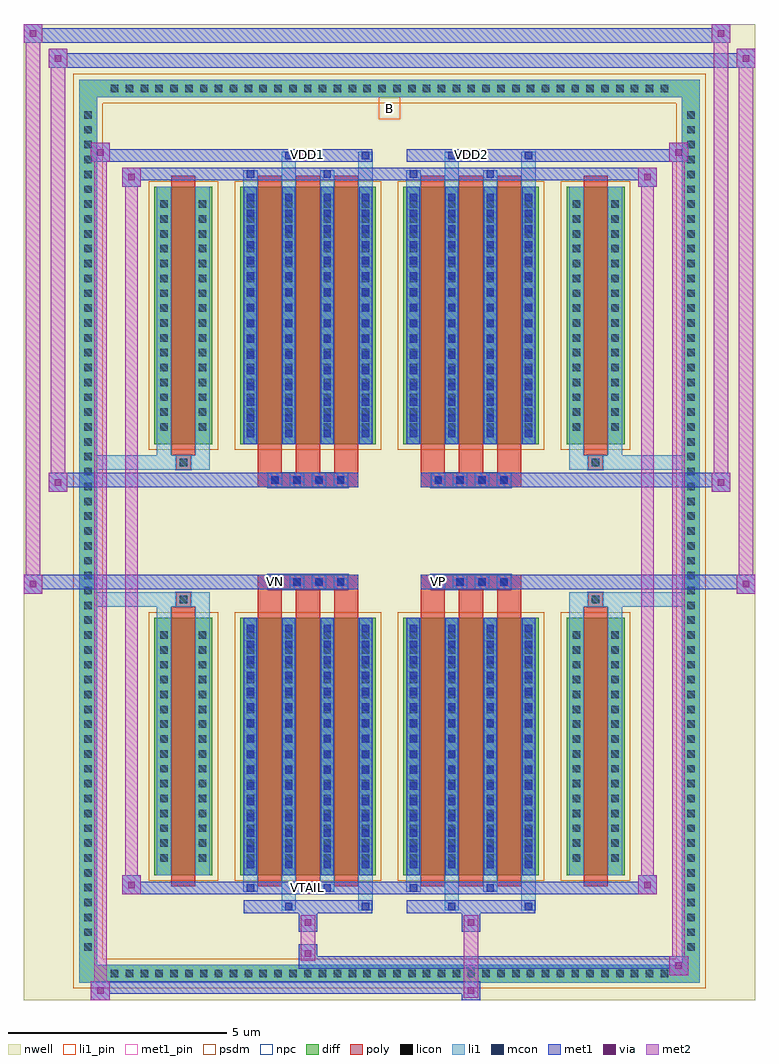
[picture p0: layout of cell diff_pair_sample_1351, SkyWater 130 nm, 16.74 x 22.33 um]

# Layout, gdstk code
import gdstk
lib = gdstk.Library(unit=1e-6, precision=5e-09)
def R(c, l, rs):  # rectangles x0, y0, x1, y1
    for r in rs: c.add(gdstk.rectangle(r[:2], r[2:], *l))
def A(c, l, x, y, w, h, nx, ny, dx, dy):  # array of equal rectangles
    R(c, l, [(x+i*dx, y+j*dy, x+i*dx+w, y+j*dy+h) for i in range(nx) for j in range(ny)])
def P(c, l, *ps):  # polygons
    for p in ps: c.add(gdstk.Polygon(p, *l))
nwell = (64, 20)
diff = (65, 20)
poly = (66, 20)
licon = (66, 44)
li1_pin = (67, 16)
li1 = (67, 20)
mcon = (67, 44)
met1_pin = (68, 16)
met1 = (68, 20)
via = (68, 44)
met2 = (69, 20)
psdm = (94, 20)
npc = (95, 20)

diff_pair_sample_1351 = lib.new_cell('diff_pair_sample_1351')
R(diff_pair_sample_1351, nwell, [(-8.37,-10.73,8.37,11.6), (-5.69,-8.92,-0.01,-0.8), (0.01,-8.92,5.69,-0.8), (-5.69,0.8,-0.01,8.92), (0.01,0.8,5.69,8.92)])
A(diff_pair_sample_1351, diff, -6.495, -10.33, 0.41, 0.41, 38, 2, 0.34, 20.25)
A(diff_pair_sample_1351, diff, -7.1, -9.725, 0.41, 0.41, 1, 57, 0, 0.34)
A(diff_pair_sample_1351, diff, 6.69, -9.725, 0.41, 0.41, 1, 57, 0, 0.34)
R(diff_pair_sample_1351, diff, [(-6.495,-10.33,6.495,-9.92), (-7.1,-9.725,-6.69,9.725), (6.69,-9.725,7.1,9.725), (-5.38,-7.875,-4.05,-1.985), (-3.41,-7.875,-0.32,-1.985), (0.32,-7.875,3.41,-1.985), (4.05,-7.875,5.38,-1.985), (-5.38,1.985,-4.05,7.875), (-3.41,1.985,-0.32,7.875), (0.32,1.985,3.41,7.875), (4.05,1.985,5.38,7.875), (-6.495,9.92,6.495,10.33)])
P(diff_pair_sample_1351, diff, [(7.1,10.33),(-7.1,10.33),(-7.1,-9.92),(-6.69,-9.92),(-6.69,9.92),(6.69,9.92),(6.69,-9.92),(-6.69,-9.92),(-7.1,-9.92),(-7.1,-10.33),(7.1,-10.33)])
A(diff_pair_sample_1351, poly, -3.02, -8.125, 0.55, 6.39, 3, 2, 0.88, 9.86)
A(diff_pair_sample_1351, poly, 0.71, -8.125, 0.55, 6.39, 3, 2, 0.88, 9.86)
A(diff_pair_sample_1351, poly, -3.02, -1.735, 0.55, 0.405, 3, 2, 0.88, 3.065)
A(diff_pair_sample_1351, poly, 0.71, -1.735, 0.55, 0.405, 3, 2, 0.88, 3.065)
A(diff_pair_sample_1351, poly, -2.78, -1.33, 0.33, 0.33, 4, 2, 0.5, 2.33)
A(diff_pair_sample_1351, poly, 0.95, -1.33, 0.33, 0.33, 4, 2, 0.5, 2.33)
R(diff_pair_sample_1351, poly, [(-4.99,-8.125,-4.44,-1.735), (4.44,-8.125,4.99,-1.735), (-4.88,-1.735,-4.55,-1.405), (-4.88,-1.735,-4.55,-1.405), (4.55,-1.735,4.88,-1.405), (4.55,-1.735,4.88,-1.405), (-3.02,-1.33,-0.71,-1), (0.71,-1.33,3.02,-1), (-3.02,1,-0.71,1.33), (0.71,1,3.02,1.33), (-4.88,1.405,-4.55,1.735), (-4.88,1.405,-4.55,1.735), (4.55,1.405,4.88,1.735), (4.55,1.405,4.88,1.735), (-4.99,1.735,-4.44,8.125), (4.44,1.735,4.99,8.125)])
A(diff_pair_sample_1351, licon, -6.375, -10.21, 0.17, 0.17, 38, 2, 0.34, 20.25)
A(diff_pair_sample_1351, licon, -6.98, -9.605, 0.17, 0.17, 1, 57, 0, 0.34)
A(diff_pair_sample_1351, licon, 6.81, -9.605, 0.17, 0.17, 1, 57, 0, 0.34)
A(diff_pair_sample_1351, licon, -5.24, -7.565, 0.17, 0.17, 1, 16, 0, 0.34)
A(diff_pair_sample_1351, licon, -4.36, -7.565, 0.17, 0.17, 1, 16, 0, 0.34)
A(diff_pair_sample_1351, licon, -3.27, -7.565, 0.17, 0.17, 4, 16, 0.88, 0.34)
A(diff_pair_sample_1351, licon, 0.46, -7.565, 0.17, 0.17, 4, 16, 0.88, 0.34)
A(diff_pair_sample_1351, licon, 4.19, -7.565, 0.17, 0.17, 1, 16, 0, 0.34)
A(diff_pair_sample_1351, licon, 5.07, -7.565, 0.17, 0.17, 1, 16, 0, 0.34)
A(diff_pair_sample_1351, licon, -2.7, -1.25, 0.17, 0.17, 4, 2, 0.5, 2.33)
A(diff_pair_sample_1351, licon, 1.03, -1.25, 0.17, 0.17, 4, 2, 0.5, 2.33)
A(diff_pair_sample_1351, licon, -5.24, 2.295, 0.17, 0.17, 1, 16, 0, 0.34)
A(diff_pair_sample_1351, licon, -4.36, 2.295, 0.17, 0.17, 1, 16, 0, 0.34)
A(diff_pair_sample_1351, licon, -3.27, 2.295, 0.17, 0.17, 4, 16, 0.88, 0.34)
A(diff_pair_sample_1351, licon, 0.46, 2.295, 0.17, 0.17, 4, 16, 0.88, 0.34)
A(diff_pair_sample_1351, licon, 4.19, 2.295, 0.17, 0.17, 1, 16, 0, 0.34)
A(diff_pair_sample_1351, licon, 5.07, 2.295, 0.17, 0.17, 1, 16, 0, 0.34)
R(diff_pair_sample_1351, licon, [(-4.8,-1.655,-4.63,-1.485), (4.63,-1.655,4.8,-1.485), (-4.8,1.485,-4.63,1.655), (4.63,1.485,4.8,1.655)])
R(diff_pair_sample_1351, li1_pin, [(-0.25,9.42,0.25,9.92)])
A(diff_pair_sample_1351, li1, -6.455, -10.29, 0.33, 0.33, 38, 2, 0.34, 20.25)
A(diff_pair_sample_1351, li1, -7.06, -9.685, 0.33, 0.33, 1, 57, 0, 0.34)
A(diff_pair_sample_1351, li1, 6.73, -9.685, 0.33, 0.33, 1, 57, 0, 0.34)
A(diff_pair_sample_1351, li1, -3.35, -7.875, 0.33, 5.89, 4, 2, 0.88, 9.86)
A(diff_pair_sample_1351, li1, 0.38, -7.875, 0.33, 5.89, 4, 2, 0.88, 9.86)
A(diff_pair_sample_1351, li1, -3.27, -7.715, 0.17, 0.17, 4, 16, 0.88, 0.36)
A(diff_pair_sample_1351, li1, -3.27, -7.715, 0.17, 5.57, 4, 2, 0.88, 9.86)
A(diff_pair_sample_1351, li1, 0.46, -7.715, 0.17, 0.17, 4, 16, 0.88, 0.36)
A(diff_pair_sample_1351, li1, 0.46, -7.715, 0.17, 5.57, 4, 2, 0.88, 9.86)
A(diff_pair_sample_1351, li1, -5.32, -7.645, 0.33, 0.33, 1, 16, 0, 0.34)
A(diff_pair_sample_1351, li1, -4.44, -7.645, 0.33, 0.33, 1, 16, 0, 0.34)
A(diff_pair_sample_1351, li1, -3.35, -7.645, 0.33, 0.33, 4, 16, 0.88, 0.34)
A(diff_pair_sample_1351, li1, 0.38, -7.645, 0.33, 0.33, 4, 16, 0.88, 0.34)
A(diff_pair_sample_1351, li1, 4.11, -7.645, 0.33, 0.33, 1, 16, 0, 0.34)
A(diff_pair_sample_1351, li1, 4.99, -7.645, 0.33, 0.33, 1, 16, 0, 0.34)
A(diff_pair_sample_1351, li1, -2.78, -1.33, 0.33, 0.33, 4, 2, 0.5, 2.33)
A(diff_pair_sample_1351, li1, 0.95, -1.33, 0.33, 0.33, 4, 2, 0.5, 2.33)
A(diff_pair_sample_1351, li1, -3.27, 2.145, 0.17, 0.17, 4, 16, 0.88, 0.36)
A(diff_pair_sample_1351, li1, 0.46, 2.145, 0.17, 0.17, 4, 16, 0.88, 0.36)
A(diff_pair_sample_1351, li1, -5.32, 2.215, 0.33, 0.33, 1, 16, 0, 0.34)
A(diff_pair_sample_1351, li1, -4.44, 2.215, 0.33, 0.33, 1, 16, 0, 0.34)
A(diff_pair_sample_1351, li1, -3.35, 2.215, 0.33, 0.33, 4, 16, 0.88, 0.34)
A(diff_pair_sample_1351, li1, 0.38, 2.215, 0.33, 0.33, 4, 16, 0.88, 0.34)
A(diff_pair_sample_1351, li1, 4.11, 2.215, 0.33, 0.33, 1, 16, 0, 0.34)
A(diff_pair_sample_1351, li1, 4.99, 2.215, 0.33, 0.33, 1, 16, 0, 0.34)
R(diff_pair_sample_1351, li1, [(-7.1,-10.33,-6.69,-9.92), (-7.1,-10.33,-6.69,-9.92), (-6.69,-10.33,6.69,-9.92), (6.69,-10.33,7.1,-9.92), (6.69,-10.33,7.1,-9.92), (-7.1,-9.92,-6.69,9.92), (6.69,-9.92,7.1,9.92), (-2.47,-8.68,-2.14,-7.875), (-2.39,-8.68,-2.22,-8.51), (-0.71,-8.68,-0.38,-7.875), (-0.63,-8.68,-0.46,-8.51), (1.26,-8.68,1.59,-7.875), (1.34,-8.68,1.51,-8.51), (3.02,-8.68,3.35,-7.875), (3.1,-8.68,3.27,-8.51), (-3.35,-8.25,-3.02,-7.875), (-3.27,-8.25,-3.1,-8.08), (-1.59,-8.25,-1.26,-7.875), (-1.51,-8.25,-1.34,-8.08), (0.38,-8.25,0.71,-7.875), (0.46,-8.25,0.63,-8.08), (2.14,-8.25,2.47,-7.875), (2.22,-8.25,2.39,-8.08), (-5.32,-7.875,-4.99,-1.985), (-4.44,-7.875,-4.11,-1.985), (4.11,-7.875,4.44,-1.985), (4.99,-7.875,5.32,-1.985), (-5.32,-1.985,-4.99,-1.405), (-4.44,-1.985,-4.11,-1.405), (4.11,-1.985,4.44,-1.405), (4.99,-1.985,5.32,-1.405), (-7.1,-1.735,-4.88,-1.405), (-5.32,-1.735,-4.88,-1.405), (-4.88,-1.735,-4.55,-1.405), (-4.55,-1.735,-4.11,-1.405), (4.11,-1.735,4.55,-1.405), (4.55,-1.735,4.88,-1.405), (4.55,-1.735,7.1,-1.405), (4.88,-1.735,5.32,-1.405), (-7.1,1.405,-4.88,1.735), (-5.32,1.405,-4.88,1.735), (-5.32,1.405,-4.99,1.985), (-4.88,1.405,-4.55,1.735), (-4.55,1.405,-4.11,1.735), (-4.44,1.405,-4.11,1.985), (4.11,1.405,4.55,1.735), (4.11,1.405,4.44,1.985), (4.55,1.405,4.88,1.735), (4.55,1.405,7.1,1.735), (4.88,1.405,5.32,1.735), (4.99,1.405,5.32,1.985), (-5.32,1.985,-4.99,7.875), (-4.44,1.985,-4.11,7.875), (4.11,1.985,4.44,7.875), (4.99,1.985,5.32,7.875), (-3.35,7.875,-3.02,8.25), (-2.47,7.875,-2.14,8.68), (-1.59,7.875,-1.26,8.25), (-0.71,7.875,-0.38,8.68), (0.38,7.875,0.71,8.25), (1.26,7.875,1.59,8.68), (2.14,7.875,2.47,8.25), (3.02,7.875,3.35,8.68), (-3.27,8.08,-3.1,8.25), (-1.51,8.08,-1.34,8.25), (0.46,8.08,0.63,8.25), (2.22,8.08,2.39,8.25), (-2.39,8.51,-2.22,8.68), (-0.63,8.51,-0.46,8.68), (1.34,8.51,1.51,8.68), (3.1,8.51,3.27,8.68), (-7.1,9.92,-6.69,10.33), (-7.1,9.92,-6.69,10.33), (-6.69,9.92,6.69,10.33), (6.69,9.92,7.1,10.33), (6.69,9.92,7.1,10.33)])
A(diff_pair_sample_1351, mcon, -3.27, -7.715, 0.17, 0.17, 4, 16, 0.88, 0.36)
A(diff_pair_sample_1351, mcon, 0.46, -7.715, 0.17, 0.17, 4, 16, 0.88, 0.36)
A(diff_pair_sample_1351, mcon, -2.7, -1.25, 0.17, 0.17, 4, 2, 0.5, 2.33)
A(diff_pair_sample_1351, mcon, 1.03, -1.25, 0.17, 0.17, 4, 2, 0.5, 2.33)
A(diff_pair_sample_1351, mcon, -3.27, 2.145, 0.17, 0.17, 4, 16, 0.88, 0.36)
A(diff_pair_sample_1351, mcon, 0.46, 2.145, 0.17, 0.17, 4, 16, 0.88, 0.36)
R(diff_pair_sample_1351, mcon, [(-2.39,-8.68,-2.22,-8.51), (-0.63,-8.68,-0.46,-8.51), (1.34,-8.68,1.51,-8.51), (3.1,-8.68,3.27,-8.51), (-3.27,-8.25,-3.1,-8.08), (-1.51,-8.25,-1.34,-8.08), (0.46,-8.25,0.63,-8.08), (2.22,-8.25,2.39,-8.08), (-3.27,8.08,-3.1,8.25), (-1.51,8.08,-1.34,8.25), (0.46,8.08,0.63,8.25), (2.22,8.08,2.39,8.25), (-2.39,8.51,-2.22,8.68), (-0.63,8.51,-0.46,8.68), (1.34,8.51,1.51,8.68), (3.1,8.51,3.27,8.68)])
R(diff_pair_sample_1351, met1_pin, [(-2,-8.29,-1.73,-8.02), (-2.75,-1.29,-2.48,-1.02), (0.98,-1.29,1.25,-1.02), (-2,8.47,-1.73,8.74), (1.73,8.47,2,8.74)])
A(diff_pair_sample_1351, met1, -3.33, -7.875, 0.29, 5.89, 4, 2, 0.88, 9.86)
A(diff_pair_sample_1351, met1, 0.4, -7.875, 0.29, 5.89, 4, 2, 0.88, 9.86)
A(diff_pair_sample_1351, met1, -3.33, -7.775, 0.29, 0.29, 4, 16, 0.88, 0.36)
A(diff_pair_sample_1351, met1, 0.4, -7.775, 0.29, 0.29, 4, 16, 0.88, 0.36)
A(diff_pair_sample_1351, met1, -2.76, -1.31, 0.29, 0.29, 4, 2, 0.5, 2.33)
A(diff_pair_sample_1351, met1, 0.97, -1.31, 0.29, 0.29, 4, 2, 0.5, 2.33)
A(diff_pair_sample_1351, met1, -3.33, 2.085, 0.29, 0.29, 4, 16, 0.88, 0.36)
A(diff_pair_sample_1351, met1, 0.4, 2.085, 0.29, 0.29, 4, 16, 0.88, 0.36)
R(diff_pair_sample_1351, met1, [(-6.83,-10.73,-6.4,-10.3), (1.65,-10.73,2.08,-10.3), (-6.83,-10.59,2.08,-10.3), (6.4,-10.16,6.83,-9.73), (-2.08,-10.02,6.83,-9.73), (-2.08,-9.88,-1.65,-9.45), (-2.08,-9.17,-1.65,-8.74), (1.65,-9.17,2.08,-8.74), (-3.33,-8.74,-0.4,-8.45), (-2.45,-8.74,-2.16,-8.45), (-0.69,-8.74,-0.4,-8.45), (0.4,-8.74,3.33,-8.45), (1.28,-8.74,1.57,-8.45), (3.04,-8.74,3.33,-8.45), (-6.12,-8.31,-5.69,-7.88), (-6.12,-8.31,-3.33,-8.02), (-3.33,-8.31,-3.04,-8.02), (-3.33,-8.31,-0.4,-8.02), (-1.57,-8.31,-1.28,-8.02), (-0.4,-8.31,0.4,-8.02), (0.4,-8.31,0.69,-8.02), (0.4,-8.31,3.33,-8.02), (2.16,-8.31,2.45,-8.02), (3.33,-8.31,6.12,-8.02), (5.69,-8.31,6.12,-7.88), (-8.37,-1.43,-7.94,-1), (7.94,-1.43,8.37,-1), (-8.37,-1.33,-0.71,-1), (-3.02,-1.33,-0.71,-1), (0.71,-1.33,3.02,-1), (0.71,-1.33,8.37,-1), (-7.8,0.9,-7.37,1.33), (7.37,0.9,7.8,1.33), (-7.8,1,-3.02,1.33), (-3.02,1,-0.71,1.33), (0.71,1,3.02,1.33), (3.02,1,7.8,1.33), (-6.12,7.88,-5.69,8.31), (5.69,7.88,6.12,8.31), (-6.12,8.02,-3.33,8.31), (-3.33,8.02,-3.04,8.31), (-3.33,8.02,-0.4,8.31), (-1.57,8.02,-1.28,8.31), (-0.4,8.02,0.4,8.31), (0.4,8.02,0.69,8.31), (0.4,8.02,3.33,8.31), (2.16,8.02,2.45,8.31), (3.33,8.02,6.12,8.31), (-6.83,8.45,-6.4,8.88), (-6.83,8.45,-3.33,8.74), (-3.33,8.45,-0.4,8.74), (-2.45,8.45,-2.16,8.74), (-0.69,8.45,-0.4,8.74), (0.4,8.45,3.33,8.74), (1.28,8.45,1.57,8.74), (3.04,8.45,3.33,8.74), (3.33,8.45,6.83,8.74), (6.4,8.45,6.83,8.88), (-7.8,10.6,-7.37,11.03), (-7.8,10.6,-5.69,10.93), (-5.69,10.6,5.69,10.93), (5.69,10.6,8.37,10.93), (7.94,10.6,8.37,11.03), (-8.37,11.17,-7.94,11.6), (-8.37,11.17,-5.69,11.5), (-5.69,11.17,5.69,11.5), (5.69,11.17,7.8,11.5), (7.37,11.17,7.8,11.6)])
R(diff_pair_sample_1351, via, [(-6.69,-10.59,-6.54,-10.44), (1.79,-10.59,1.94,-10.44), (6.54,-10.02,6.69,-9.87), (-1.94,-9.74,-1.79,-9.59), (-1.94,-9.03,-1.79,-8.88), (1.79,-9.03,1.94,-8.88), (-5.98,-8.17,-5.83,-8.02), (5.83,-8.17,5.98,-8.02), (-8.23,-1.29,-8.08,-1.14), (8.08,-1.29,8.23,-1.14), (-7.66,1.04,-7.51,1.19), (7.51,1.04,7.66,1.19), (-5.98,8.02,-5.83,8.17), (5.83,8.02,5.98,8.17), (-6.69,8.59,-6.54,8.74), (6.54,8.59,6.69,8.74), (-7.66,10.74,-7.51,10.89), (8.08,10.74,8.23,10.89), (-8.23,11.31,-8.08,11.46), (7.51,11.31,7.66,11.46)])
R(diff_pair_sample_1351, met2, [(-6.83,-10.73,-6.4,-10.3), (-6.76,-10.73,-6.47,8.88), (-6.47,-10.73,-6.4,-10.3), (-6.78,-10.68,-6.45,-10.35), (1.7,-10.68,2.03,-10.35), (1.7,-10.35,2.03,-9.12), (6.4,-10.16,6.83,-9.73), (6.47,-10.16,6.76,8.88), (6.76,-10.16,6.83,-9.73), (6.45,-10.11,6.78,-9.78), (-2.03,-9.83,-1.7,-9.5), (-2.03,-9.5,-1.7,-9.12), (-2.03,-9.12,-1.7,-8.79), (1.7,-9.12,2.03,-8.79), (-6.12,-8.31,-5.69,-7.88), (-6.05,-8.31,-5.76,8.31), (-5.76,-8.31,-5.69,-7.88), (5.69,-8.31,6.12,-7.88), (5.76,-8.31,6.05,8.31), (6.05,-8.31,6.12,-7.88), (-6.07,-8.26,-5.74,-7.93), (5.74,-8.26,6.07,-7.93), (-8.37,-1.43,-7.94,-1), (-8.32,-1.43,-7.99,11.6), (-7.99,-1.43,-7.94,-1), (7.94,-1.43,8.37,-1), (7.99,-1.43,8.32,11.03), (8.32,-1.43,8.37,-1), (-8.32,-1.38,-7.99,-1.05), (7.99,-1.38,8.32,-1.05), (-7.8,0.9,-7.37,1.33), (-7.75,0.9,-7.42,11.03), (-7.42,0.9,-7.37,1.33), (7.37,0.9,7.8,1.33), (7.42,0.9,7.75,11.6), (7.75,0.9,7.8,1.33), (-7.75,0.95,-7.42,1.28), (7.42,0.95,7.75,1.28), (-6.12,7.88,-5.69,8.31), (-5.76,7.88,-5.69,8.31), (5.69,7.88,6.12,8.31), (6.05,7.88,6.12,8.31), (-6.07,7.93,-5.74,8.26), (5.74,7.93,6.07,8.26), (-6.83,8.45,-6.4,8.88), (-6.47,8.45,-6.4,8.88), (6.4,8.45,6.83,8.88), (6.76,8.45,6.83,8.88), (-6.78,8.5,-6.45,8.83), (6.45,8.5,6.78,8.83), (-7.8,10.6,-7.37,11.03), (-7.42,10.6,-7.37,11.03), (7.94,10.6,8.37,11.03), (8.32,10.6,8.37,11.03), (-7.75,10.65,-7.42,10.98), (7.99,10.65,8.32,10.98), (-8.37,11.17,-7.94,11.6), (-7.99,11.17,-7.94,11.6), (7.37,11.17,7.8,11.6), (7.75,11.17,7.8,11.6), (-8.32,11.22,-7.99,11.55), (7.42,11.22,7.75,11.55)])
R(diff_pair_sample_1351, psdm, [(-5.51,-8.005,-3.92,-1.855), (-3.54,-8.005,-0.19,-1.855), (0.19,-8.005,3.54,-1.855), (3.92,-8.005,5.51,-1.855), (-5.51,1.855,-3.92,8.005), (-3.54,1.855,-0.19,8.005), (0.19,1.855,3.54,8.005), (3.92,1.855,5.51,8.005)])
P(diff_pair_sample_1351, psdm, [(7.23,10.46),(-7.23,10.46),(-7.23,-9.79),(-6.56,-9.79),(-6.56,9.79),(6.56,9.79),(6.56,-9.79),(-6.56,-9.79),(-7.23,-9.79),(-7.23,-10.46),(7.23,-10.46)])
A(diff_pair_sample_1351, npc, -2.8, -1.35, 0.37, 0.37, 4, 2, 0.5, 2.33)
A(diff_pair_sample_1351, npc, 0.93, -1.35, 0.37, 0.37, 4, 2, 0.5, 2.33)
R(diff_pair_sample_1351, npc, [(-4.9,-1.755,-4.53,-1.385), (4.53,-1.755,4.9,-1.385), (-2.8,-1.35,-1.93,-0.98), (-2.8,-1.35,-1.93,-0.98), (-2.3,-1.35,-1.43,-0.98), (-2.3,-1.35,-1.43,-0.98), (-1.8,-1.35,-0.93,-0.98), (-1.8,-1.35,-0.93,-0.98), (0.93,-1.35,1.8,-0.98), (0.93,-1.35,1.8,-0.98), (1.43,-1.35,2.3,-0.98), (1.43,-1.35,2.3,-0.98), (1.93,-1.35,2.8,-0.98), (1.93,-1.35,2.8,-0.98), (-2.8,0.98,-1.93,1.35), (-2.8,0.98,-1.93,1.35), (-2.3,0.98,-1.43,1.35), (-2.3,0.98,-1.43,1.35), (-1.8,0.98,-0.93,1.35), (-1.8,0.98,-0.93,1.35), (0.93,0.98,1.8,1.35), (0.93,0.98,1.8,1.35), (1.43,0.98,2.3,1.35), (1.43,0.98,2.3,1.35), (1.93,0.98,2.8,1.35), (1.93,0.98,2.8,1.35), (-4.9,1.385,-4.53,1.755), (4.53,1.385,4.9,1.755)])
diff_pair_sample_1351.add(gdstk.Label('VTAIL', (-1.865,-8.155), layer=68, texttype=5))
diff_pair_sample_1351.add(gdstk.Label('VN', (-2.615,-1.155), layer=68, texttype=5))
diff_pair_sample_1351.add(gdstk.Label('VP', (1.115,-1.155), layer=68, texttype=5))
diff_pair_sample_1351.add(gdstk.Label('B', (0,9.67), layer=67, texttype=5))
diff_pair_sample_1351.add(gdstk.Label('VDD2', (1.865,8.605), layer=68, texttype=5))
diff_pair_sample_1351.add(gdstk.Label('VDD1', (-1.865,8.605), layer=68, texttype=5))

lib.write_gds('diff_pair_sample_1351.gds')
